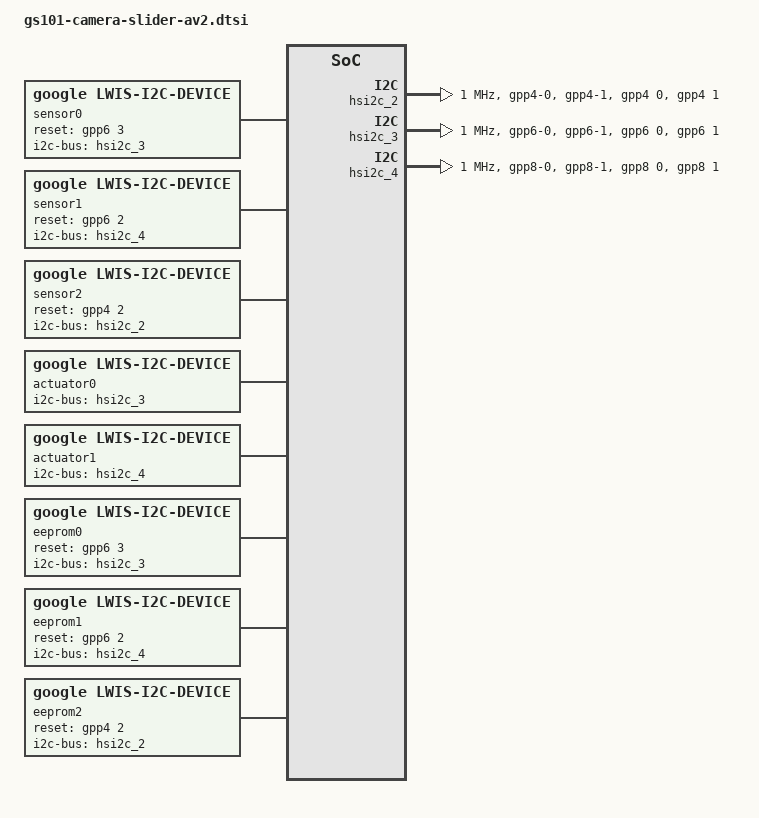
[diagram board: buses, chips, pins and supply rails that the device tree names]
// SPDX-License-Identifier: GPL-2.0-only
/*
 * gs101 camera lwis device tree source for av2
 *
 * Copyright 2020 Google LLC.
 *
 */

#include <dt-bindings/clock/gs101.h>
#include <dt-bindings/gpio/gpio.h>
#include <dt-bindings/pinctrl/samsung.h>

&pinctrl_4 {
	hsi2c2_bus: hsi2c2-bus {
		samsung,pin-pud = <EXYNOS_PIN_PULL_UP>;
	};

	hsi2c2_bus_in: hsi2c2-bus-in {
		samsung,pins = "gpp4-0", "gpp4-1";
		samsung,pin-function = <EXYNOS_PIN_FUNC_INPUT>;
		samsung,pin-pud = <EXYNOS_PIN_PULL_NONE>;
		samsung,pin-drv = <GS101_PIN_DRV_2_5_MA>;
	};

	hsi2c3_bus: hsi2c3-bus {
		samsung,pin-pud = <EXYNOS_PIN_PULL_UP>;
	};

	hsi2c3_bus_in: hsi2c3-bus-in {
		samsung,pins = "gpp6-0", "gpp6-1";
		samsung,pin-function = <EXYNOS_PIN_FUNC_INPUT>;
		samsung,pin-pud = <EXYNOS_PIN_PULL_NONE>;
		samsung,pin-drv = <GS101_PIN_DRV_2_5_MA>;
	};

	hsi2c4_bus: hsi2c4-bus {
		samsung,pin-pud = <EXYNOS_PIN_PULL_UP>;
	};

	hsi2c4_bus_in: hsi2c4-bus-in {
		samsung,pins = "gpp8-0", "gpp8-1";
		samsung,pin-function = <EXYNOS_PIN_FUNC_INPUT>;
		samsung,pin-pud = <EXYNOS_PIN_PULL_NONE>;
		samsung,pin-drv = <GS101_PIN_DRV_2_5_MA>;
	};
};

&hsi2c_2 {
	#address-cells = <1>;
	#size-cells = <0>;
	gpios = <&gpp4 0 0 &gpp4 1 0>;
	status = "okay";
	clock-frequency = <1000000>;
	samsung,reset-before-trans;

	pinctrl-names = "default","on_i2c","off_i2c";
	pinctrl-0 = <&hsi2c2_bus_in>;
	pinctrl-1 = <&hsi2c2_bus>;
	pinctrl-2 = <&hsi2c2_bus_in>;
};

&hsi2c_3 {
	#address-cells = <1>;
	#size-cells = <0>;
	gpios = <&gpp6 0 0 &gpp6 1 0>;
	status = "okay";
	clock-frequency = <1000000>;
	samsung,reset-before-trans;

	pinctrl-names = "default","on_i2c","off_i2c";
	pinctrl-0 = <&hsi2c3_bus_in>;
	pinctrl-1 = <&hsi2c3_bus>;
	pinctrl-2 = <&hsi2c3_bus_in>;
};

&hsi2c_4 {
	#address-cells = <1>;
	#size-cells = <0>;
	gpios = <&gpp8 0 0 &gpp8 1 0>;
	status = "okay";
	clock-frequency = <1000000>;
	samsung,reset-before-trans;

	pinctrl-names = "default","on_i2c","off_i2c";
	pinctrl-0 = <&hsi2c4_bus_in>;
	pinctrl-1 = <&hsi2c4_bus>;
	pinctrl-2 = <&hsi2c4_bus_in>;
};

/ {
	fragment@lwiscamera {
		target-path = "/";
		__overlay__ {
			/* REAR CAMERA IMX363 */
			sensor0: sensor@0 {
				compatible = "google,lwis-i2c-device";

				/* Device node name */
				node-name = "sensor0";

				/* I2C */
				i2c-bus = <&hsi2c_3>;
				i2c-addr = <0x10>;

				/* Registers */
				reg-addr-bitwidth = <16>;
				reg-value-bitwidth = <8>;

				/* GPIOs */
				reset-gpios = <&gpp6 3 GPIO_ACTIVE_HIGH>;

				/* Power supplies */
				regulators =
					<&max77826_buck1 &max77826_buck2 &max77826_ldo12
					 &max77826_ldo13 &max77826_ldo1  &max77826_ldo4
					 &max77826_ldo9>;
				regulator-voltages =
					<1350000 3237500 2800000
					 1800000 1050000 2800000
					 1800000>;

				clocks =
					<&clock CIS_CLK0>,
					<&clock GATE_DFTMUX_CMU_CIS_CLK0>;
				clock-names =
					"CIS_CLK0",
					"GATE_DFTMUX_CMU_CIS_CLK0";
				clock-rates =
					<26000000>,
					<0>;

				/* MCLK Control */
				pinctrl-names = "mclk_on", "mclk_off";
				pinctrl-0 = <&sensor_mclk1_fn>;
				pinctrl-1 = <&sensor_mclk1_out>;
				shared-pinctrl = <1>;
			};

			/* REAR CAMERA IMX481 */
			sensor1: sensor@1 {
				compatible = "google,lwis-i2c-device";

				/* Device node name */
				node-name = "sensor1";

				/* I2C */
				i2c-bus = <&hsi2c_4>;
				i2c-addr = <0x1A>;

				/* Registers */
				reg-addr-bitwidth = <16>;
				reg-value-bitwidth = <8>;

				/* GPIOs */
				reset-gpios = <&gpp6 2 GPIO_ACTIVE_HIGH>;

				/* Power supplies */
				regulators =
					<&max77826_buck1 &max77826_buck2 &max77826_ldo12
					 &max77826_ldo11 &max77826_ldo13 &max77826_ldo1
					 &max77826_ldo5>;
				regulator-voltages =
					<1350000 3237500 2800000
					 1800000 1800000 1050000
					 2800000>;

				clocks =
					<&clock CIS_CLK0>,
					<&clock GATE_DFTMUX_CMU_CIS_CLK0>;
				clock-names =
					"CIS_CLK0",
					"GATE_DFTMUX_CMU_CIS_CLK0";
				clock-rates =
					<26000000>,
					<0>;

				/* MCLK Control */
				pinctrl-names = "mclk_on", "mclk_off";
				pinctrl-0 = <&sensor_mclk1_fn>;
				pinctrl-1 = <&sensor_mclk1_out>;
				shared-pinctrl = <1>;
			};

			/* FRONT CAMERA IMX520 */
			sensor2: sensor@2 {
				compatible = "google,lwis-i2c-device";

				/* Device node name */
				node-name = "sensor2";

				/* I2C */
				i2c-bus = <&hsi2c_2>;
				i2c-addr = <0x10>;

				/* Registers */
				reg-addr-bitwidth = <16>;
				reg-value-bitwidth = <8>;

				/* GPIOs */
				reset-gpios = <&gpp4 2 GPIO_ACTIVE_HIGH>;

				/* Power supplies */
				regulators =
					<&max77826_buck1 &max77826_buck2 &max77826_ldo11
					 &max77826_ldo13 &max77826_ldo3  &max77826_ldo8>;
				regulator-voltages =
					<1350000 3237500 1800000
					 1800000 1050000 2800000>;

				clocks =
					<&clock CIS_CLK1>,
					<&clock GATE_DFTMUX_CMU_CIS_CLK1>;
				clock-names =
					"CIS_CLK1",
					"GATE_DFTMUX_CMU_CIS_CLK1";
				clock-rates =
					<26000000>,
					<0>;

				/* MCLK Control */
				pinctrl-names = "mclk_on", "mclk_off";
				pinctrl-0 = <&sensor_mclk2_fn>;
				pinctrl-1 = <&sensor_mclk2_out>;

				/* Power source */
				//power-domains = <&pd_isppre>;
			};

			/* Actuator for imx363*/
			actuator0: actuator@0 {
				compatible = "google,lwis-i2c-device";

				/* Device node name */
				node-name = "act0";

				/* I2C */
				i2c-bus = <&hsi2c_3>;
				i2c-addr = <0x3b>;

				/* Registers */
				reg-addr-bitwidth = <16>;
				reg-value-bitwidth = <32>;

				clocks =
					<&clock CIS_CLK0>,
					<&clock GATE_DFTMUX_CMU_CIS_CLK0>;
				clock-names =
					"CIS_CLK0",
					"GATE_DFTMUX_CMU_CIS_CLK0";
				clock-rates =
					<26000000>,
					<0>;

				/* Power supplies */
				regulators = <&max77826_ldo12>;
				regulator-voltages = <2800000>;
			};

			/* Actuator for imx481*/
			actuator1: actuator@1 {
				compatible = "google,lwis-i2c-device";

				/* Device node name */
				node-name = "act1";

				/* I2C */
				i2c-bus = <&hsi2c_4>;
				i2c-addr = <0x3c>;

				/* Registers */
				reg-addr-bitwidth = <16>;
				reg-value-bitwidth = <32>;

				clocks =
					<&clock CIS_CLK0>,
					<&clock GATE_DFTMUX_CMU_CIS_CLK0>;
				clock-names =
					"CIS_CLK0",
					"GATE_DFTMUX_CMU_CIS_CLK0";
				clock-rates =
					<26000000>,
					<0>;

				/* Power supplies */
				regulators = <&max77826_ldo12>;
				regulator-voltages = <2800000>;
			};

			/* EEPROM for imx363*/
			eeprom0: eeprom@0 {
				compatible = "google,lwis-i2c-device";

				/* Device node name */
				node-name = "eeprom0";

				/* I2C */
				i2c-bus = <&hsi2c_3>;
				i2c-addr = <0x3b>;

				/* Registers */
				reg-addr-bitwidth = <16>;
				reg-value-bitwidth = <32>;

				/* GPIOs */
				reset-gpios = <&gpp6 3 GPIO_ACTIVE_HIGH>;

				clocks =
					<&clock CIS_CLK0>,
					<&clock GATE_DFTMUX_CMU_CIS_CLK0>;
				clock-names =
					"CIS_CLK0",
					"GATE_DFTMUX_CMU_CIS_CLK0";
				clock-rates =
					<26000000>,
					<0>;

				/* Power supplies */
				regulators = <&max77826_ldo12>;
				regulator-voltages = <2800000>;
			};

			/* EEPROM for imx481*/
			eeprom1: eeprom@1 {
				compatible = "google,lwis-i2c-device";

				/* Device node name */
				node-name = "eeprom1";

				/* I2C */
				i2c-bus = <&hsi2c_4>;
				i2c-addr = <0x3c>;

				/* Registers */
				reg-addr-bitwidth = <16>;
				reg-value-bitwidth = <32>;

				/* GPIOs */
				reset-gpios = <&gpp6 2 GPIO_ACTIVE_HIGH>;

				clocks =
					<&clock CIS_CLK0>,
					<&clock GATE_DFTMUX_CMU_CIS_CLK0>;
				clock-names =
					"CIS_CLK0",
					"GATE_DFTMUX_CMU_CIS_CLK0";
				clock-rates =
					<26000000>,
					<0>;

				/* Power supplies */
				regulators = <&max77826_ldo12>;
				regulator-voltages = <2800000>;
			};

			/* EEPROM for imx520*/
			eeprom2: eeprom@2 {
				compatible = "google,lwis-i2c-device";

				/* Device node name */
				node-name = "eeprom2";

				/* I2C */
				i2c-bus = <&hsi2c_2>;
				i2c-addr = <0x50>;

				/* Registers */
				reg-addr-bitwidth = <16>;
				reg-value-bitwidth = <8>;

				/* GPIOs */
				reset-gpios = <&gpp4 2 GPIO_ACTIVE_HIGH>;

				clocks =
					<&clock CIS_CLK1>,
					<&clock GATE_DFTMUX_CMU_CIS_CLK1>;
				clock-names =
					"CIS_CLK1",
					"GATE_DFTMUX_CMU_CIS_CLK1";
				clock-rates =
					<26000000>,
					<0>;

				/* Power supplies */
				regulators =
					<&max77826_buck1 &max77826_buck2 &max77826_ldo11
					 &max77826_ldo13 &max77826_ldo3  &max77826_ldo8>;
				regulator-voltages =
					<1350000 3237500 1800000
					 1800000 1050000 2800000>;
			};
		};
	};
};
